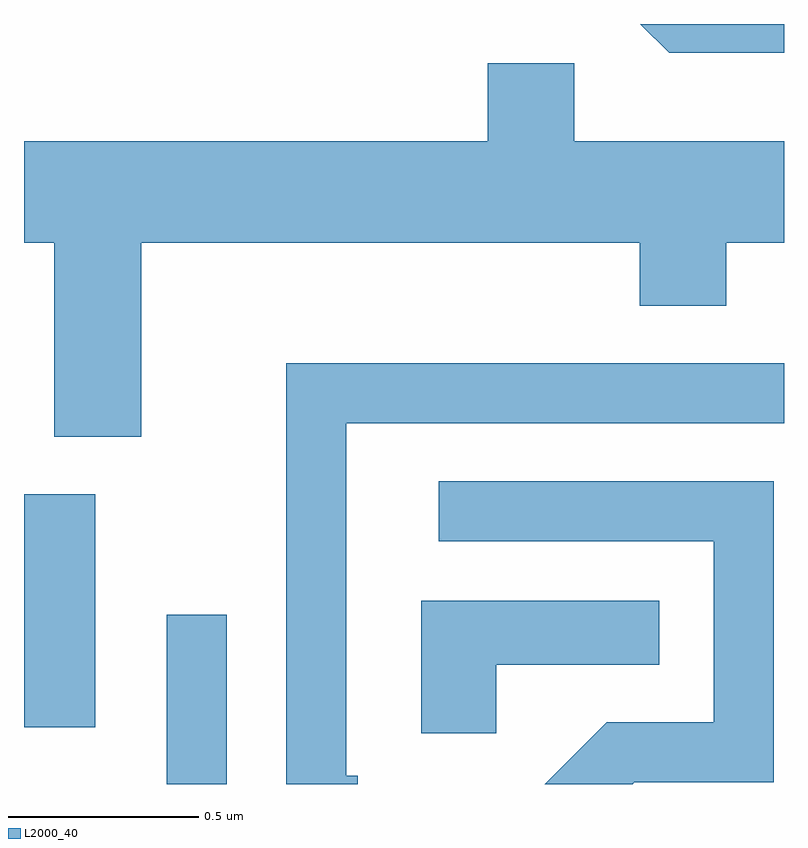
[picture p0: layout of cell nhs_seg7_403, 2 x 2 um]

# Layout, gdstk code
import gdstk
lib = gdstk.Library(unit=1e-6, precision=1e-09)
def R(c, l, rs):  # rectangles x0, y0, x1, y1
    for r in rs: c.add(gdstk.rectangle(r[:2], r[2:], *l))
def P(c, l, *ps):  # polygons
    for p in ps: c.add(gdstk.Polygon(p, *l))
L2000_40 = (2000, 40)

nhs_seg7_403 = lib.new_cell('nhs_seg7_403')
R(nhs_seg7_403, L2000_40, [(187.986,1797.252,188.144,1797.698), (187.611,1797.401,187.799,1798.014)])
P(nhs_seg7_403, L2000_40, [(189.611,1799.252),(189.233,1799.252),(189.309,1799.176),(189.611,1799.176)],
  [(187.919,1798.676),(189.231,1798.676),(189.231,1798.511),(189.459,1798.511),(189.459,1798.676),(189.611,1798.676),(189.611,1798.944),(189.059,1798.944),(189.059,1799.149),(188.831,1799.149),(188.831,1798.944),(187.611,1798.944),(187.611,1798.676),(187.691,1798.676),(187.691,1798.166),(187.919,1798.166)],
  [(188.489,1797.274),(188.459,1797.274),(188.459,1798.201),(189.611,1798.201),(189.611,1798.359),(188.301,1798.359),(188.301,1797.252),(188.489,1797.252)],
  [(189.217,1797.256),(189.584,1797.256),(189.584,1798.049),(188.703,1798.049),(188.703,1797.891),(189.426,1797.891),(189.426,1797.414),(189.144,1797.414),(188.982,1797.252),(189.213,1797.252)],
  [(188.854,1797.566),(189.283,1797.566),(189.283,1797.734),(188.656,1797.734),(188.656,1797.386),(188.854,1797.386)])

lib.write_gds('nhs_seg7_403.gds')
